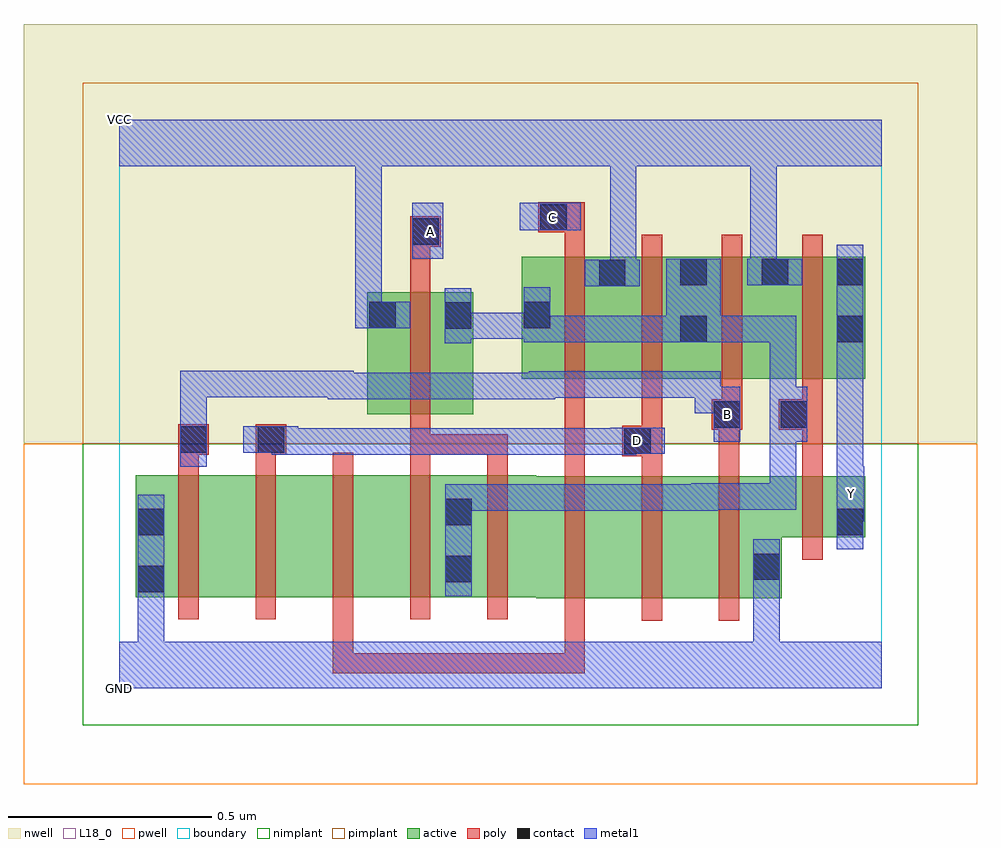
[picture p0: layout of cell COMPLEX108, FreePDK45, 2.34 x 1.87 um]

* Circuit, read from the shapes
.subckt COMPLEX108 A B C D GND VCC Y
M1 n1 B GND VSUBS nfet w=0.3u l=0.05u
M2 n2 D n1 VSUBS nfet w=0.3u l=0.05u
M3 n3 C n2 VSUBS nfet w=0.3u l=0.05u
M4 n4 A n3 VSUBS nfet w=0.3u l=0.05u
M5 n5 A n4 VSUBS nfet w=0.3u l=0.05u
M6 n6 C n5 VSUBS nfet w=0.3u l=0.05u
M7 n7 D n6 VSUBS nfet w=0.3u l=0.05u
M8 GND B n7 VSUBS nfet w=0.3u l=0.05u
M9 Y n4 GND VSUBS nfet w=0.15u l=0.05u
M10 n4 A VCC n8 pfet w=0.3u l=0.05u
M11 VCC C n4 n8 pfet w=0.3u l=0.05u
M12 n4 D VCC n8 pfet w=0.3u l=0.05u
M13 VCC B n4 n8 pfet w=0.3u l=0.05u
M14 Y n4 VCC n8 pfet w=0.3u l=0.05u
.ends

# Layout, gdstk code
import gdstk
lib = gdstk.Library(unit=1e-6, precision=1e-09)
def R(c, l, rs):  # rectangles x0, y0, x1, y1
    for r in rs: c.add(gdstk.rectangle(r[:2], r[2:], *l))
def A(c, l, x, y, w, h, nx, ny, dx, dy):  # array of equal rectangles
    R(c, l, [(x+i*dx, y+j*dy, x+i*dx+w, y+j*dy+h) for i in range(nx) for j in range(ny)])
active = (1, 0)
pwell = (2, 0)
nwell = (3, 0)
nimplant = (4, 0)
pimplant = (5, 0)
poly = (9, 0)
contact = (10, 0)
metal1 = (11, 0)
L18_0 = (18, 0)
boundary = (235, 0)

complex108 = lib.new_cell('COMPLEX108')
R(complex108, active, [(1.025,0.222,1.215,0.522), (1.215,0.222,1.405,0.522), (1.405,0.222,1.63,0.522), (0.04,0.225,0.265,0.525), (0.04,0.225,0.115,0.525), (0.265,0.225,0.455,0.525), (0.455,0.225,0.645,0.525), (0.645,0.225,0.872,0.525), (0.797,0.225,1.025,0.525), (0.797,0.225,0.872,0.525), (1.555,0.262,1.63,0.522), (1.555,0.372,1.835,0.522), (1.76,0.372,1.835,0.522), (0.61,0.675,0.685,0.975), (0.61,0.675,0.87,0.975), (0.795,0.675,0.87,0.975), (0.99,0.762,1.065,1.062), (0.99,0.762,1.25,1.062), (1.175,0.762,1.45,1.062), (1.375,0.762,1.65,1.062), (1.575,0.762,1.835,1.062), (1.76,0.762,1.835,1.062), (1.575,0.797,1.65,1.062), (1.375,0.847,1.45,1.062), (1.175,0.867,1.25,1.06)])
R(complex108, pwell, [(-0.235,-0.235,2.11,0.602)])
R(complex108, nwell, [(-0.235,0.602,2.11,1.635)])
R(complex108, nimplant, [(-0.09,-0.09,1.965,0.602)])
R(complex108, pimplant, [(-0.09,0.602,1.965,1.49)])
A(complex108, poly, 1.095, 0.167, 0.05, 0.41, 3, 1, 0.19, 0)
A(complex108, poly, 0.145, 0.17, 0.05, 0.41, 5, 1, 0.19, 0)
R(complex108, poly, [(0.525,0.037,0.575,0.087), (0.525,0.037,0.575,0.087), (0.525,0.037,0.575,0.087), (0.525,0.037,0.707,0.087), (0.525,0.037,0.575,0.22), (0.657,0.037,0.707,0.087), (0.657,0.037,0.707,0.087), (0.657,0.037,0.707,0.087), (0.657,0.037,0.897,0.087), (0.847,0.037,0.897,0.087), (0.847,0.037,0.897,0.087), (0.847,0.037,0.897,0.087), (0.847,0.037,1.145,0.087), (1.095,0.037,1.145,0.087), (1.095,0.037,1.145,0.217), (1.68,0.317,1.73,0.577), (1.095,0.527,1.145,0.712), (1.285,0.527,1.335,0.622), (1.475,0.527,1.525,0.687), (1.68,0.527,1.73,0.687), (0.145,0.53,0.195,0.625), (0.335,0.53,0.385,0.625), (0.715,0.53,0.765,0.625), (0.905,0.53,0.955,0.625), (1.237,0.572,1.335,0.647), (0.145,0.575,0.22,0.65), (0.335,0.575,0.41,0.65), (0.715,0.575,0.765,0.67), (0.715,0.575,0.765,0.625), (0.715,0.575,0.765,0.625), (0.715,0.575,0.765,0.625), (0.715,0.575,0.955,0.625), (0.905,0.575,0.955,0.625), (1.285,0.597,1.335,0.757), (0.715,0.62,0.765,1.03), (1.457,0.637,1.532,0.712), (1.622,0.637,1.73,0.712), (1.095,0.662,1.145,0.757), (1.095,0.662,1.145,0.712), (1.482,0.662,1.532,0.757), (1.68,0.662,1.73,0.757), (1.095,0.707,1.145,1.117), (1.285,0.707,1.335,1.117), (1.482,0.707,1.532,1.117), (1.68,0.707,1.73,1.117), (0.715,0.98,0.765,1.137), (1.095,1.067,1.145,1.172), (0.715,1.087,0.79,1.162), (1.03,1.122,1.145,1.197)])
R(complex108, contact, [(0.045,0.237,0.11,0.302), (0.802,0.262,0.867,0.327), (1.56,0.267,1.625,0.332), (0.045,0.377,0.11,0.442), (1.765,0.377,1.83,0.442), (0.802,0.402,0.867,0.467), (1.242,0.577,1.307,0.642), (0.15,0.58,0.215,0.645), (0.34,0.58,0.405,0.645), (1.462,0.642,1.527,0.707), (1.627,0.642,1.692,0.707), (1.38,0.852,1.445,0.917), (1.765,0.852,1.83,0.917), (0.8,0.885,0.865,0.95), (0.615,0.887,0.68,0.952), (0.995,0.887,1.06,0.952), (1.18,0.99,1.245,1.055), (1.38,0.992,1.445,1.057), (1.58,0.992,1.645,1.057), (1.765,0.992,1.83,1.057), (0.72,1.092,0.785,1.157), (1.035,1.127,1.1,1.192)])
R(complex108, metal1, [(0,0,1.875,0.115), (0.045,0.05,0.11,0.267), (1.56,0.05,1.625,0.115), (1.56,0.05,1.625,0.115), (1.56,0.05,1.625,0.297), (0.045,0.202,0.11,0.477), (0.045,0.202,0.11,0.267), (0.045,0.202,0.11,0.267), (0.802,0.227,0.867,0.502), (1.56,0.232,1.625,0.367), (1.765,0.342,1.83,0.477), (1.765,0.412,1.83,0.477), (1.765,0.412,1.832,0.547), (0.802,0.437,0.867,0.502), (0.802,0.437,0.867,0.502), (0.802,0.437,1.072,0.502), (1.007,0.437,1.072,0.502), (1.007,0.437,1.072,0.502), (1.007,0.437,1.072,0.502), (1.007,0.437,1.272,0.502), (1.207,0.437,1.272,0.502), (1.207,0.437,1.272,0.502), (1.207,0.437,1.272,0.502), (1.207,0.437,1.472,0.502), (1.407,0.437,1.472,0.505), (1.407,0.44,1.48,0.505), (1.415,0.44,1.48,0.505), (1.415,0.44,1.665,0.505), (1.6,0.44,1.665,0.505), (1.6,0.44,1.665,0.742), (1.765,0.482,1.83,0.882), (0.15,0.545,0.215,0.68), (0.375,0.575,0.577,0.64), (0.375,0.575,0.44,0.645), (0.512,0.575,0.577,0.64), (0.512,0.575,0.577,0.64), (0.512,0.575,0.577,0.64), (0.512,0.575,0.715,0.64), (0.65,0.575,0.715,0.64), (0.65,0.575,0.912,0.64), (0.847,0.575,0.912,0.64), (0.847,0.575,0.912,0.64), (0.847,0.575,0.912,0.64), (0.847,0.575,1.072,0.64), (1.007,0.575,1.072,0.64), (1.007,0.575,1.072,0.64), (1.007,0.575,1.072,0.64), (1.007,0.575,1.272,0.64), (1.207,0.575,1.272,0.642), (1.207,0.577,1.272,0.642), (1.207,0.577,1.342,0.642), (0.305,0.58,0.44,0.645), (0.375,0.58,0.44,0.645), (1.462,0.607,1.527,0.742), (1.627,0.607,1.692,0.742), (0.15,0.615,0.215,0.68), (0.15,0.615,0.215,0.68), (0.15,0.615,0.215,0.782), (1.415,0.677,1.48,0.742), (1.415,0.677,1.527,0.742), (1.415,0.677,1.48,0.78), (1.6,0.677,1.665,0.742), (1.6,0.677,1.692,0.742), (1.6,0.677,1.665,0.917), (0.512,0.712,0.715,0.777), (0.512,0.712,0.577,0.78), (0.65,0.712,0.715,0.777), (0.65,0.712,0.912,0.777), (0.847,0.712,0.912,0.777), (0.847,0.712,0.912,0.777), (0.847,0.712,0.912,0.777), (0.847,0.712,1.072,0.777), (1.007,0.712,1.072,0.78), (0.512,0.715,0.577,0.78), (0.512,0.715,0.577,0.782), (1.007,0.715,1.072,0.78), (1.007,0.715,1.072,0.78), (1.007,0.715,1.272,0.78), (1.207,0.715,1.272,0.78), (1.207,0.715,1.272,0.78), (1.207,0.715,1.272,0.78), (1.207,0.715,1.48,0.78), (1.415,0.715,1.48,0.78), (0.15,0.717,0.215,0.782), (0.15,0.717,0.44,0.782), (0.375,0.717,0.44,0.782), (0.375,0.717,0.44,0.782), (0.375,0.717,0.44,0.782), (0.375,0.717,0.577,0.782), (1.765,0.817,1.83,1.092), (0.8,0.85,0.865,0.985), (0.995,0.852,1.06,0.917), (0.995,0.852,1.06,0.917), (0.995,0.852,1.06,0.987), (0.995,0.852,1.272,0.917), (1.207,0.852,1.272,0.917), (1.207,0.852,1.272,0.917), (1.207,0.852,1.272,0.917), (1.207,0.852,1.41,0.917), (1.345,0.852,1.48,1.057), (1.415,0.852,1.48,0.917), (1.415,0.852,1.48,0.917), (1.415,0.852,1.665,0.917), (1.6,0.852,1.665,0.917), (1.6,0.852,1.665,0.917), (1.6,0.852,1.665,0.917), (0.8,0.86,0.865,0.925), (0.8,0.86,0.865,0.925), (0.8,0.86,1.06,0.925), (0.58,0.887,0.715,0.952), (0.58,0.887,0.645,1.35), (1.145,0.99,1.28,1.055), (1.207,0.99,1.272,1.055), (1.207,0.99,1.272,1.055), (1.207,0.99,1.272,1.055), (1.207,0.99,1.272,1.055), (1.207,0.99,1.272,1.35), (1.545,0.992,1.68,1.057), (1.552,0.992,1.617,1.057), (1.552,0.992,1.617,1.057), (1.552,0.992,1.617,1.35), (0.72,1.057,0.797,1.195), (0.985,1.127,1.135,1.195), (0,1.285,1.875,1.4), (0.58,1.285,0.645,1.35), (0.58,1.285,0.645,1.35), (0.58,1.285,0.645,1.35), (0.58,1.285,0.645,1.35), (1.552,1.285,1.617,1.35), (1.552,1.285,1.617,1.35)])
R(complex108, L18_0, [(0,0,1.875,0.115), (0.045,0.05,0.11,0.267), (1.56,0.05,1.625,0.115), (1.56,0.05,1.625,0.115), (1.56,0.05,1.625,0.297), (0.045,0.202,0.11,0.267), (0.045,0.202,0.11,0.267), (0.045,0.202,0.11,0.477), (1.56,0.232,1.625,0.367), (1.765,0.342,1.83,0.477), (1.765,0.412,1.83,0.477), (1.765,0.412,1.832,0.547), (1.767,0.447,1.832,0.512), (1.765,0.482,1.83,0.882), (0.15,0.545,0.215,0.68), (0.375,0.575,0.44,0.645), (0.375,0.575,0.577,0.64), (0.512,0.575,0.577,0.64), (0.512,0.575,0.577,0.64), (0.512,0.575,0.577,0.64), (0.512,0.575,0.715,0.64), (0.65,0.575,0.715,0.64), (0.65,0.575,0.912,0.64), (0.847,0.575,0.912,0.64), (0.847,0.575,0.912,0.64), (0.847,0.575,0.912,0.64), (0.847,0.575,1.072,0.64), (1.007,0.575,1.072,0.64), (1.007,0.575,1.072,0.64), (1.007,0.575,1.072,0.64), (1.007,0.575,1.272,0.64), (1.207,0.575,1.272,0.642), (1.207,0.577,1.272,0.642), (1.207,0.577,1.342,0.642), (1.242,0.577,1.307,0.642), (0.305,0.58,0.44,0.645), (0.375,0.58,0.44,0.645), (1.462,0.607,1.527,0.742), (0.15,0.615,0.215,0.68), (0.15,0.615,0.215,0.68), (0.15,0.615,0.215,0.782), (1.462,0.642,1.527,0.707), (1.415,0.677,1.48,0.742), (1.415,0.677,1.48,0.78), (1.415,0.677,1.527,0.742), (0.512,0.712,0.577,0.78), (0.512,0.712,0.715,0.777), (0.65,0.712,0.715,0.777), (0.65,0.712,0.912,0.777), (0.847,0.712,0.912,0.777), (0.847,0.712,0.912,0.777), (0.847,0.712,0.912,0.777), (0.847,0.712,1.072,0.777), (1.007,0.712,1.072,0.78), (0.512,0.715,0.577,0.78), (0.512,0.715,0.577,0.782), (1.007,0.715,1.072,0.78), (1.007,0.715,1.072,0.78), (1.007,0.715,1.272,0.78), (1.207,0.715,1.272,0.78), (1.207,0.715,1.272,0.78), (1.207,0.715,1.272,0.78), (1.207,0.715,1.48,0.78), (1.415,0.715,1.48,0.78), (0.15,0.717,0.215,0.782), (0.15,0.717,0.44,0.782), (0.375,0.717,0.44,0.782), (0.375,0.717,0.44,0.782), (0.375,0.717,0.44,0.782), (0.375,0.717,0.577,0.782), (1.765,0.817,1.83,1.092), (0.58,0.887,0.715,0.952), (0.58,0.887,0.645,1.35), (1.145,0.99,1.28,1.055), (1.207,0.99,1.272,1.055), (1.207,0.99,1.272,1.055), (1.207,0.99,1.272,1.055), (1.207,0.99,1.272,1.055), (1.207,0.99,1.272,1.35), (1.545,0.992,1.68,1.057), (1.552,0.992,1.617,1.057), (1.552,0.992,1.617,1.057), (1.552,0.992,1.617,1.35), (0.72,1.057,0.797,1.195), (0.732,1.092,0.797,1.157), (0.985,1.127,1.135,1.195), (1.032,1.127,1.097,1.192), (0,1.285,1.875,1.4), (0.58,1.285,0.645,1.35), (0.58,1.285,0.645,1.35), (0.58,1.285,0.645,1.35), (0.58,1.285,0.645,1.35), (1.552,1.285,1.617,1.35), (1.552,1.285,1.617,1.35)])
R(complex108, boundary, [(0,0,1.875,1.4)])
complex108.add(gdstk.Label('A', (0.765,1.125), layer=11, texttype=0))
complex108.add(gdstk.Label('B', (1.495,0.675), layer=11, texttype=0))
complex108.add(gdstk.Label('C', (1.065,1.16), layer=11, texttype=0))
complex108.add(gdstk.Label('D', (1.275,0.61), layer=11, texttype=0))
complex108.add(gdstk.Label('Y', (1.8,0.48), layer=11, texttype=0))
complex108.add(gdstk.Label('VCC', (0,1.4), layer=11, texttype=0))
complex108.add(gdstk.Label('GND', (0,0), layer=11, texttype=0))

lib.write_gds('COMPLEX108.gds')
